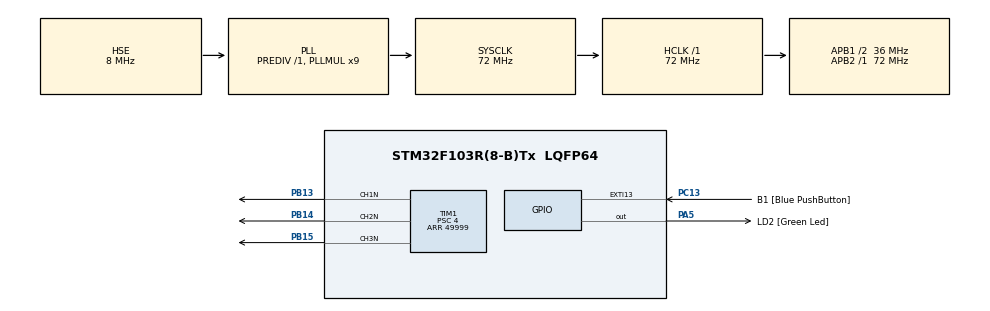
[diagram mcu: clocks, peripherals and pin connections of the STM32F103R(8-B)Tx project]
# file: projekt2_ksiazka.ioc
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Mcu.Family=STM32F1
Mcu.Name=STM32F103R(8-B)Tx
Mcu.Package=LQFP64
NVIC.EXTI15_10_IRQn=true\:0\:0\:false\:false\:true\:true\:true\:true
NVIC.PriorityGroup=NVIC_PRIORITYGROUP_4
PA13.GPIO_Label=TMS
PA13.Mode=Serial_Wire
PA13.Signal=SYS_JTMS-SWDIO
PA14.GPIO_Label=TCK
PA14.Mode=Serial_Wire
PA14.Signal=SYS_JTCK-SWCLK
PA2.GPIO_Label=USART_TX
PA2.GPIO_Mode=GPIO_MODE_AF_PP
PA2.GPIO_PuPd=GPIO_NOPULL
PA2.GPIO_Speed=GPIO_SPEED_FREQ_LOW
PA2.Signal=USART2_TX
PA3.GPIO_Label=USART_RX
PA3.GPIO_Mode=GPIO_MODE_AF_PP
PA3.GPIO_PuPd=GPIO_NOPULL
PA3.GPIO_Speed=GPIO_SPEED_FREQ_LOW
PA3.Signal=USART2_RX
PA5.GPIO_Label=LD2 [Green Led]
PA5.GPIO_ModeDefaultOutputPP=GPIO_MODE_OUTPUT_PP
PA5.GPIO_PuPd=GPIO_NOPULL
PA5.GPIO_Speed=GPIO_SPEED_FREQ_LOW
PA5.Signal=GPIO_Output
PB13.Mode=PWM Generation1 CH1N
PB13.Signal=TIM1_CH1N
PB14.Mode=PWM Generation2 CH2N
PB14.Signal=TIM1_CH2N
PB15.Mode=PWM Generation3 CH3N
PB15.Signal=TIM1_CH3N
PB3.GPIO_Label=SWO
PB3.Signal=SYS_JTDO-TRACESWO
PC13-TAMPER-RTC.GPIO_Label=B1 [Blue PushButton]
PC13-TAMPER-RTC.GPIO_ModeDefaultEXTI=GPIO_MODE_IT_FALLING
PC13-TAMPER-RTC.GPIO_PuPd=GPIO_NOPULL
PC13-TAMPER-RTC.Signal=GPXTI13
PC14-OSC32_IN.Signal=RCC_OSC32_IN
PC15-OSC32_OUT.Signal=RCC_OSC32_OUT
PD0-OSC_IN.Mode=HSE-External-Oscillator
PD0-OSC_IN.Signal=RCC_OSC_IN
PD1-OSC_OUT.Mode=HSE-External-Oscillator
PD1-OSC_OUT.Signal=RCC_OSC_OUT
ProjectManager.HeapSize=0x200
ProjectManager.StackSize=0x400
ProjectManager.TargetToolchain=STM32CubeIDE
RCC.AHBFreq_Value=72000000
RCC.APB1CLKDivider=RCC_HCLK_DIV2
RCC.APB1Freq_Value=36000000
RCC.APB1TimFreq_Value=72000000
RCC.APB2Freq_Value=72000000
RCC.APB2TimFreq_Value=72000000
RCC.HCLKFreq_Value=72000000
RCC.PLLMUL=RCC_PLL_MUL9
RCC.PLLSourceVirtual=RCC_PLLSOURCE_HSE
RCC.SYSCLKFreq_VALUE=72000000
RCC.SYSCLKSource=RCC_SYSCLKSOURCE_PLLCLK
RCC.USBFreq_Value=72000000
TIM1.Channel-PWM\ Generation1\ CH1N=TIM_CHANNEL_1
TIM1.Channel-PWM\ Generation2\ CH2N=TIM_CHANNEL_2
TIM1.Channel-PWM\ Generation3\ CH3N=TIM_CHANNEL_3
TIM1.OCNPolarity_1=TIM_OCNPOLARITY_HIGH
TIM1.Period=49999
TIM1.Prescaler=4
VP_TIM1_VS_ClockSourceINT.Mode=Internal
board=NUCLEO-F103RB

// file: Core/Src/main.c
/* USER CODE BEGIN Header */
/**
  ******************************************************************************
  * @file           : main.c
  * @brief          : Main program body
  ******************************************************************************
  * @attention
  *
  * Copyright (c) 2024 STMicroelectronics.
  * All rights reserved.
  *
  * This software is licensed under terms that can be found in the LICENSE file
  * in the root directory of this software component.
  * If no LICENSE file comes with this software, it is provided AS-IS.
  *
  ******************************************************************************
  */
/* USER CODE END Header */
#include "main.h"
#include "tim.h"
#include "gpio.h"

/* USER CODE BEGIN Includes */
#include <math.h>
/* USER CODE END Includes */

void SystemClock_Config(void);

/* USER CODE BEGIN 0 */
void setLedBrightness(TIM_HandleTypeDef * timer, uint32_t channel, double brightness)
{
	int32_t value = powf(brightness, 2.2) * 49999;
	__HAL_TIM_SET_COMPARE(timer, channel, brightness);
}
/* USER CODE END 0 */

int main(void)
{

  /* MCU Configuration--------------------------------------------------------*/

  /* Reset of all peripherals, Initializes the Flash interface and the Systick. */
  HAL_Init();

  /* Configure the system clock */
  SystemClock_Config();

  /* Initialize all configured peripherals */
  MX_GPIO_Init();
  MX_TIM1_Init();
  /* USER CODE BEGIN 2 */
  HAL_TIMEx_PWMN_Start(&htim1, TIM_CHANNEL_1);
  HAL_TIMEx_PWMN_Start(&htim1, TIM_CHANNEL_2);
  HAL_TIMEx_PWMN_Start(&htim1, TIM_CHANNEL_3);
  /* USER CODE END 2 */

  /* Infinite loop */
  while (1)
  {

    /* USER CODE BEGIN 3 */
	  for (int i = 0; i <= 4999; i+=50)
	  {
		  setLedBrightness(&htim1, TIM_CHANNEL_1, i);
//		  __HAL_TIM_SET_COMPARE(&htim1,TIM_CHANNEL_1, i);
		  HAL_Delay(1);
	  }
	  for (int i = 4999; i >= 0; i-=50)
	  {
		  setLedBrightness(&htim1, TIM_CHANNEL_1, i);
//		  __HAL_TIM_SET_COMPARE(&htim1,TIM_CHANNEL_1, i);
		  HAL_Delay(1);
	  }
	  for (int i = 0; i <= 4999; i+=50)
	  {
		  setLedBrightness(&htim1, TIM_CHANNEL_2, i);
//		  __HAL_TIM_SET_COMPARE(&htim1,TIM_CHANNEL_2, i);
		  HAL_Delay(1);
	  }
	  for (int i = 4999; i >= 0; i-=50)
	  {
		  setLedBrightness(&htim1, TIM_CHANNEL_2, i);
//		  __HAL_TIM_SET_COMPARE(&htim1,TIM_CHANNEL_2, i);
		  HAL_Delay(1);
	  }
	  for (int i = 0; i <= 4999; i+=50)
	  {
		  setLedBrightness(&htim1, TIM_CHANNEL_3, i);
//		  __HAL_TIM_SET_COMPARE(&htim1,TIM_CHANNEL_3, i);
		  HAL_Delay(1);
	  }
	  for (int i = 4999; i >= 0; i-=50)
	  {
		  setLedBrightness(&htim1, TIM_CHANNEL_3, i);
//		  __HAL_TIM_SET_COMPARE(&htim1,TIM_CHANNEL_3, i);
		  HAL_Delay(1);
	  }
  }
  /* USER CODE END 3 */
}

void SystemClock_Config(void)
{
  RCC_OscInitTypeDef RCC_OscInitStruct = {0};
  RCC_ClkInitTypeDef RCC_ClkInitStruct = {0};

  /** Initializes the RCC Oscillators according to the specified parameters
  * in the RCC_OscInitTypeDef structure.
  */
  RCC_OscInitStruct.OscillatorType = RCC_OSCILLATORTYPE_HSE;
  RCC_OscInitStruct.HSEState = RCC_HSE_ON;
  RCC_OscInitStruct.HSEPredivValue = RCC_HSE_PREDIV_DIV1;
  RCC_OscInitStruct.HSIState = RCC_HSI_ON;
  RCC_OscInitStruct.PLL.PLLState = RCC_PLL_ON;
  RCC_OscInitStruct.PLL.PLLSource = RCC_PLLSOURCE_HSE;
  RCC_OscInitStruct.PLL.PLLMUL = RCC_PLL_MUL9;
  if (HAL_RCC_OscConfig(&RCC_OscInitStruct) != HAL_OK)
  {
    Error_Handler();
  }

  /** Initializes the CPU, AHB and APB buses clocks
  */
  RCC_ClkInitStruct.ClockType = RCC_CLOCKTYPE_HCLK|RCC_CLOCKTYPE_SYSCLK
                              |RCC_CLOCKTYPE_PCLK1|RCC_CLOCKTYPE_PCLK2;
  RCC_ClkInitStruct.SYSCLKSource = RCC_SYSCLKSOURCE_PLLCLK;
  RCC_ClkInitStruct.AHBCLKDivider = RCC_SYSCLK_DIV1;
  RCC_ClkInitStruct.APB1CLKDivider = RCC_HCLK_DIV2;
  RCC_ClkInitStruct.APB2CLKDivider = RCC_HCLK_DIV1;

  if (HAL_RCC_ClockConfig(&RCC_ClkInitStruct, FLASH_LATENCY_2) != HAL_OK)
  {
    Error_Handler();
  }
}

void Error_Handler(void)
{
  __disable_irq();
  while (1)
  {
  }
}
